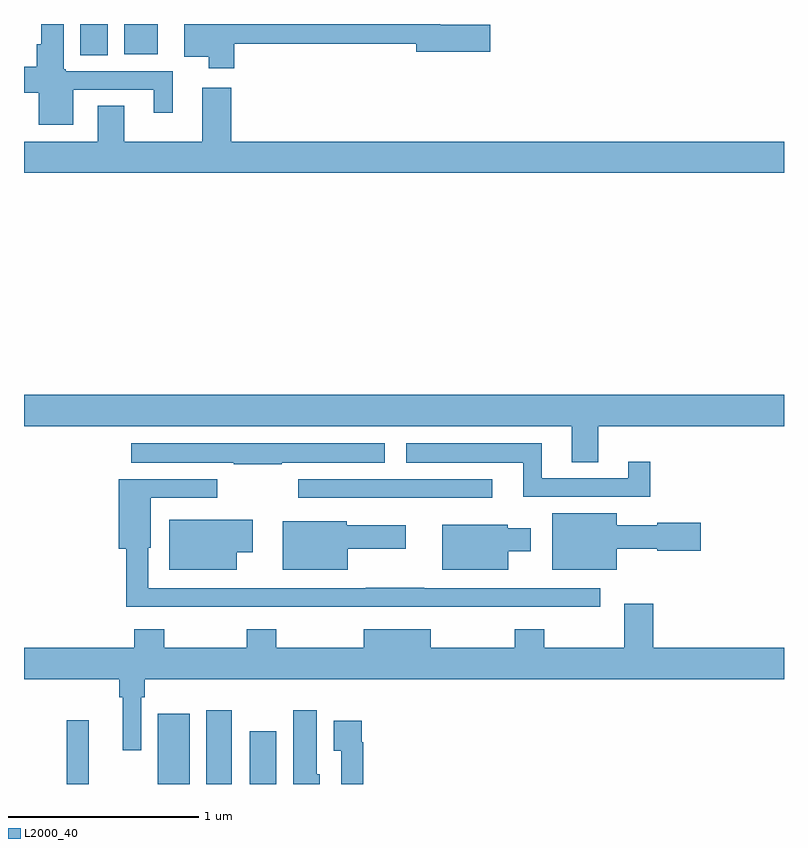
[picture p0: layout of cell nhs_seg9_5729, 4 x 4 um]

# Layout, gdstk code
import gdstk
lib = gdstk.Library(unit=1e-6, precision=1e-09)
def R(c, l, rs):  # rectangles x0, y0, x1, y1
    for r in rs: c.add(gdstk.rectangle(r[:2], r[2:], *l))
def P(c, l, *ps):  # polygons
    for p in ps: c.add(gdstk.Polygon(p, *l))
L2000_40 = (2000, 40)

nhs_seg9_5729 = lib.new_cell('nhs_seg9_5729')
R(nhs_seg9_5729, L2000_40, [(443.705,1230.5,443.872,1230.871), (443.96,1230.5,444.094,1230.889), (444.188,1230.5,444.328,1230.778), (443.297,1234.336,443.44,1234.5), (443.528,1234.34,443.704,1234.5)])
P(nhs_seg9_5729, L2000_40, [(443.26,1234.155),(443.684,1234.155),(443.684,1234.032),(443.782,1234.032),(443.782,1234.251),(443.22,1234.251),(443.22,1234.261),(443.208,1234.261),(443.208,1234.5),(443.092,1234.5),(443.092,1234.393),(443.066,1234.393),(443.066,1234.274),(443,1234.274),(443,1234.139),(443.078,1234.139),(443.078,1233.971),(443.26,1233.971)],
  [(444.107,1234.396),(445.064,1234.396),(445.064,1234.354),(445.453,1234.354),(445.453,1234.496),(445.192,1234.496),(445.192,1234.5),(443.843,1234.5),(443.843,1234.328),(443.972,1234.328),(443.972,1234.266),(444.107,1234.266)],
  [(447,1233.88),(444.092,1233.88),(444.092,1234.165),(443.939,1234.165),(443.939,1233.88),(443.527,1233.88),(443.527,1234.07),(443.387,1234.07),(443.387,1233.88),(443,1233.88),(443,1233.716),(447,1233.716)],
  [(446.023,1232.384),(447,1232.384),(447,1232.548),(443,1232.548),(443,1232.384),(445.883,1232.384),(445.883,1232.194),(446.023,1232.194)],
  [(446.297,1232.197),(446.18,1232.197),(446.18,1232.109),(445.726,1232.109),(445.726,1232.293),(445.011,1232.293),(445.011,1232.192),(445.628,1232.192),(445.628,1232.013),(446.297,1232.013)],
  [(444.356,1232.192),(444.898,1232.192),(444.898,1232.293),(443.565,1232.293),(443.565,1232.192),(444.103,1232.192),(444.103,1232.182),(444.356,1232.182)],
  [(444.083,1231.434),(444.415,1231.434),(444.415,1231.433),(444.692,1231.433),(444.692,1231.434),(445.237,1231.434),(445.237,1231.433),(445.493,1231.433),(445.493,1231.434),(446.032,1231.434),(446.032,1231.53),(445.106,1231.53),(445.106,1231.532),(444.799,1231.532),(444.799,1231.53),(443.655,1231.53),(443.655,1231.743),(443.668,1231.743),(443.668,1232.007),(444.016,1232.007),(444.016,1232.103),(443.498,1232.103),(443.498,1231.739),(443.539,1231.739),(443.539,1231.434),(443.827,1231.434),(443.827,1231.433),(444.083,1231.433)],
  [(445.465,1232.103),(444.444,1232.103),(444.444,1232.007),(444.799,1232.007),(444.799,1232.006),(445.465,1232.006)],
  [(446.119,1231.739),(446.333,1231.739),(446.333,1231.727),(446.563,1231.727),(446.563,1231.874),(446.333,1231.874),(446.333,1231.861),(446.119,1231.861),(446.119,1231.924),(445.781,1231.924),(445.781,1231.628),(446.119,1231.628)],
  [(444.121,1231.721),(444.205,1231.721),(444.205,1231.891),(443.765,1231.891),(443.765,1231.628),(444.121,1231.628)],
  [(444.703,1231.739),(445.009,1231.739),(445.009,1231.861),(444.699,1231.861),(444.699,1231.882),(444.362,1231.882),(444.362,1231.628),(444.703,1231.628)],
  [(445.549,1231.724),(445.666,1231.724),(445.666,1231.846),(445.545,1231.846),(445.545,1231.864),(445.202,1231.864),(445.202,1231.628),(445.549,1231.628)],
  [(443.616,1230.956),(443.636,1230.956),(443.636,1231.052),(447,1231.052),(447,1231.216),(446.312,1231.216),(446.312,1231.45),(446.159,1231.45),(446.159,1231.216),(445.737,1231.216),(445.737,1231.315),(445.582,1231.315),(445.582,1231.216),(445.141,1231.216),(445.141,1231.315),(444.788,1231.315),(444.788,1231.216),(444.327,1231.216),(444.327,1231.315),(444.172,1231.315),(444.172,1231.216),(443.739,1231.216),(443.739,1231.315),(443.579,1231.315),(443.579,1231.216),(443,1231.216),(443,1231.052),(443.5,1231.052),(443.5,1230.956),(443.519,1230.956),(443.519,1230.678),(443.616,1230.678)],
  [(444.556,1230.552),(444.541,1230.552),(444.541,1230.889),(444.416,1230.889),(444.416,1230.5),(444.556,1230.5)],
  [(443.34,1230.532),(443.342,1230.532),(443.342,1230.835),(443.224,1230.835),(443.224,1230.5),(443.34,1230.5)],
  [(444.785,1230.719),(444.778,1230.719),(444.778,1230.832),(444.629,1230.832),(444.629,1230.676),(444.669,1230.676),(444.669,1230.5),(444.785,1230.5)])

lib.write_gds('nhs_seg9_5729.gds')
